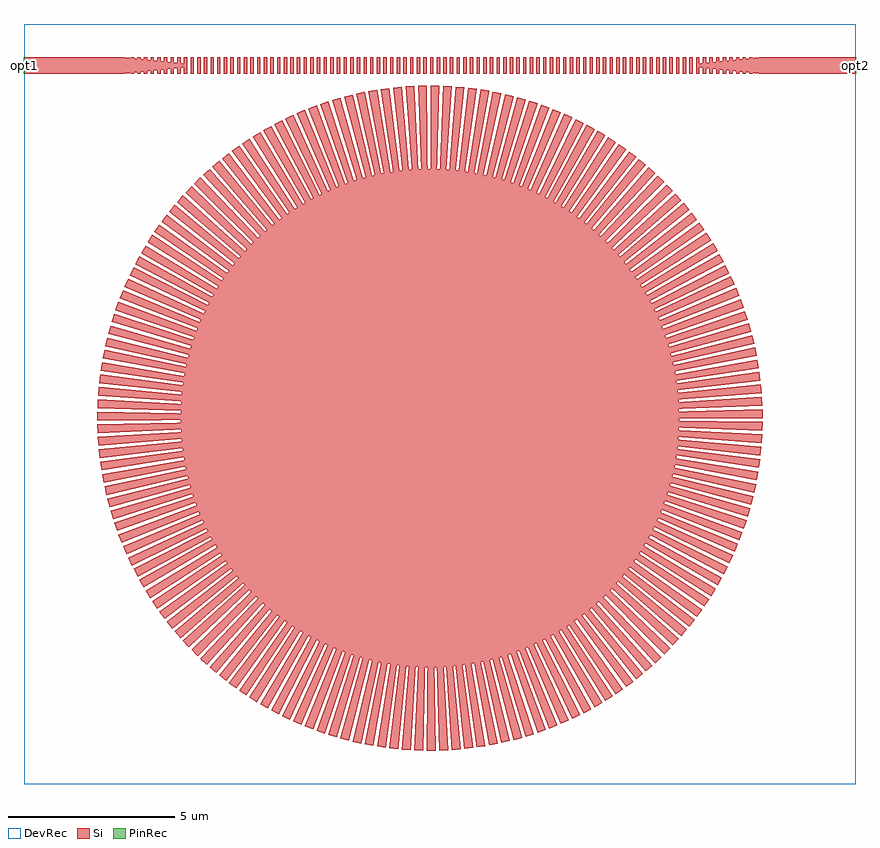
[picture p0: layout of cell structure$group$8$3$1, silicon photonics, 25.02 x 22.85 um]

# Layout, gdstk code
import gdstk
lib = gdstk.Library(unit=1e-6, precision=1e-09)
def R(c, l, rs):  # rectangles x0, y0, x1, y1
    for r in rs: c.add(gdstk.rectangle(r[:2], r[2:], *l))
def A(c, l, x, y, w, h, nx, ny, dx, dy):  # array of equal rectangles
    R(c, l, [(x+i*dx, y+j*dy, x+i*dx+w, y+j*dy+h) for i in range(nx) for j in range(ny)])
def P(c, l, *ps):  # polygons
    for p in ps: c.add(gdstk.Polygon(p, *l))
Si = (1, 0)
PinRec = (1, 10)
DevRec = (68, 0)

structure_group_8_3_1 = lib.new_cell('structure$group$8$3$1')
A(structure_group_8_3_1, Si, -8.8, 10.35, 0.1, 0.5, 94, 1, 0.2, 0)
R(structure_group_8_3_1, Si, [(-12,10.35,-9,10.85), (10.1,10.35,13,10.85)])
P(structure_group_8_3_1, Si, [(0.026,0.36),(-4.146,9.006),(-3.907,9.118),(0.036,0.365)],
  [(0.04,0.367),(-3.804,9.163),(-3.562,9.266),(0.05,0.371)],
  [(0.068,0.378),(-3.104,9.438),(-2.854,9.522),(0.078,0.381)],
  [(0.56,0.175),(0.555,0.184),(9.08,4.598),(9.198,4.363)],
  [(0.111,0.39),(-2.02,9.75),(-1.762,9.806),(0.122,0.392)],
  [(-0.05,0.312),(-6.052,7.805),(-5.844,7.967),(-0.042,0.319)],
  [(0.126,0.393),(-1.652,9.827),(-1.392,9.872),(0.136,0.395)],
  [(0.141,0.396),(-1.281,9.89),(-1.02,9.925),(0.151,0.397)],
  [(0.271,0.394),(0.261,0.395),(1.718,9.884),(1.978,9.841)],
  [(0.286,0.391),(0.276,0.393),(2.089,9.82),(2.347,9.767)],
  [(0.186,0.4),(-0.157,9.994),(0.106,10),(0.196,0.4)],
  [(0.054,0.372),(-3.457,9.307),(-3.21,9.4),(0.064,0.376)],
  [(0.3,0.387),(0.29,0.39),(2.457,9.742),(2.712,9.679)],
  [(0.538,0.214),(0.532,0.223),(8.506,5.569),(8.649,5.349)],
  [(-0.161,0.172),(-8.831,4.295),(-8.714,4.532),(-0.157,0.181)],
  [(0.471,0.295),(0.463,0.302),(6.769,7.54),(6.966,7.364)],
  [(0,0.346),(-4.811,8.654),(-4.581,8.783),(0.009,0.351)],
  [(0.398,0.348),(0.389,0.353),(4.915,8.819),(5.146,8.691)],
  [(-0.183,0.116),(-9.372,2.893),(-9.293,3.144),(-0.18,0.126)],
  [(0.315,0.383),(0.305,0.386),(2.821,9.65),(3.075,9.578)],
  [(-0.013,0.338),(-5.133,8.459),(-4.908,8.597),(-0.004,0.344)],
  [(0.082,0.382),(-2.747,9.556),(-2.494,9.63),(0.092,0.385)],
  [(0.343,0.373),(0.334,0.377),(3.54,9.426),(3.787,9.335)],
  [(0.156,0.398),(-0.908,9.938),(-0.646,9.964),(0.166,0.399)],
  [(-0.104,0.26),(-7.401,6.498),(-7.227,6.696),(-0.097,0.268)],
  [(0.357,0.368),(0.348,0.372),(3.892,9.294),(4.135,9.193)],
  [(0.53,0.227),(0.524,0.235),(8.29,5.878),(8.442,5.663)],
  [(0.241,0.398),(0.231,0.399),(0.971,9.97),(1.233,9.947)],
  [(-0.187,0.101),(-9.475,2.531),(-9.405,2.784),(-0.184,0.111)],
  [(0.385,0.355),(0.375,0.36),(4.58,8.99),(4.815,8.871)],
  [(0.595,0.06),(0.594,0.07),(10.044,1.759),(10.087,1.499)],
  [(0.572,0.147),(0.568,0.157),(9.401,3.918),(9.501,3.674)],
  [(0.59,0.09),(0.587,0.1),(9.884,2.494),(9.946,2.238)],
  [(0.597,0.045),(0.596,0.056),(10.103,1.388),(10.136,1.126)],
  [(0.586,0.104),(0.583,0.114),(9.783,2.857),(9.855,2.603)],
  [(0.256,0.396),(0.246,0.397),(1.345,9.934),(1.606,9.901)],
  [(0.582,0.119),(0.579,0.129),(9.669,3.215),(9.75,2.965)],
  [(-0.084,0.282),(-6.891,7.051),(-6.703,7.235),(-0.076,0.289)],
  [(0.593,0.075),(0.591,0.085),(9.971,2.128),(10.024,1.87)],
  [(0.599,0.03),(0.598,0.041),(10.148,1.014),(10.172,0.752)],
  [(0.371,0.362),(0.362,0.366),(4.239,9.148),(4.478,9.039)],
  [(0.512,0.251),(0.505,0.259),(7.825,6.469),(7.993,6.266)],
  [(-0.114,0.248),(-7.64,6.208),(-7.474,6.412),(-0.107,0.256)],
  [(0.492,0.273),(0.485,0.281),(7.317,7.024),(7.5,6.834)],
  [(0.577,0.133),(0.574,0.143),(9.541,3.569),(9.632,3.322)],
  [(0.553,0.188),(0.548,0.197),(8.901,4.929),(9.028,4.698)],
  [(0.6,0.015),(0.599,0.026),(10.18,0.639),(10.193,0.376)],
  [(-0.123,0.236),(-7.868,5.908),(-7.71,6.119),(-0.116,0.245)],
  [(0.546,0.201),(0.54,0.21),(8.709,5.253),(8.845,5.027)],
  [(0.436,0.323),(0.427,0.329),(5.878,8.231),(6.093,8.079)],
  [(0.013,0.353),(-4.482,8.836),(-4.247,8.957),(0.022,0.358)],
  [(0.329,0.379),(0.319,0.382),(3.183,9.545),(3.433,9.463)],
  [(-0.038,0.321),(-5.754,8.035),(-5.54,8.189),(-0.03,0.328)],
  [(-0.196,0.057),(-9.698,1.425),(-9.657,1.685),(-0.194,0.067)],
  [(-0.147,0.198),(-8.482,4.962),(-8.348,5.189),(-0.142,0.208)],
  [(0.482,0.284),(0.474,0.291),(7.048,7.287),(7.238,7.104)],
  [(-0.198,0.042),(-9.745,1.052),(-9.713,1.313),(-0.197,0.053)],
  [(0.566,0.161),(0.562,0.17),(9.247,4.261),(9.356,4.021)],
  [(0.502,0.262),(0.495,0.27),(7.577,6.752),(7.752,6.555)],
  [(0.448,0.314),(0.439,0.32),(6.184,8.012),(6.393,7.852)],
  [(0.226,0.399),(0.216,0.4),(0.595,9.992),(0.858,9.978)],
  [(0.106,-10),(0.196,-0.4),(0.207,-0.4),(0.369,-9.999)],
  [(-0.073,0.293),(-6.621,7.313),(-6.426,7.49),(-0.065,0.3)],
  [(0.423,0.332),(0.415,0.338),(5.565,8.439),(5.785,8.295)],
  [(0.201,0.4),(0.219,10),(0.482,9.996),(0.211,0.4)],
  [(-0.062,0.303),(-6.341,7.564),(-6.139,7.734),(-0.054,0.309)],
  [(-0.094,0.271),(-7.151,6.779),(-6.97,6.971),(-0.087,0.279)],
  [(0.097,0.386),(-2.385,9.66),(-2.13,9.725),(0.107,0.389)],
  [(0.521,0.239),(0.515,0.247),(8.063,6.178),(8.223,5.969)],
  [(-0.131,0.224),(-8.085,5.601),(-7.934,5.817),(-0.125,0.233)],
  [(-0.14,0.211),(-8.289,5.285),(-8.147,5.507),(-0.134,0.22)],
  [(-0.155,0.185),(-8.663,4.632),(-8.538,4.864),(-0.15,0.195)],
  [(0.171,0.399),(-0.533,9.973),(-0.27,9.989),(0.181,0.4)],
  [(-0.167,0.158),(-8.986,3.952),(-8.878,4.193),(-0.163,0.168)],
  [(-0.173,0.144),(-9.128,3.604),(-9.03,3.849),(-0.169,0.154)],
  [(-0.026,0.33),(-5.447,8.253),(-5.228,8.399),(-0.017,0.336)],
  [(-0.178,0.13),(-9.257,3.251),(-9.168,3.499),(-0.175,0.14)],
  [(-0.191,0.087),(-9.563,2.165),(-9.502,2.421),(-0.188,0.097)],
  [(-0.2,0.012),(-9.795,0.301),(-9.784,0.564),(-0.199,0.023)],
  [(-0.193,0.072),(-9.637,1.796),(-9.587,2.055),(-0.191,0.082)],
  [(0.411,0.34),(0.402,0.345),(5.243,8.635),(5.469,8.499)],
  [(0.182,-7.5),(-0.553,-7.462),(-1.28,-7.353),(-1.993,-7.172),(-2.685,-6.923),(-3.35,-6.607),(-3.98,-6.227),(-4.57,-5.788),(-5.114,-5.293),(-5.607,-4.747),(-6.044,-4.155),(-6.421,-3.523),(-6.734,-2.858),(-6.981,-2.165),(-7.158,-1.451),(-7.265,-0.723),(-7.3,0.012),(-7.263,0.747),(-7.154,1.474),(-6.974,2.187),(-6.725,2.88),(-6.41,3.544),(-6.031,4.175),(-5.592,4.765),(-5.097,5.31),(-4.551,5.803),(-3.96,6.241),(-3.329,6.618),(-2.663,6.932),(-1.97,7.179),(-1.257,7.357),(-0.529,7.465),(0.206,7.5),(0.941,7.463),(1.668,7.355),(2.382,7.176),(3.074,6.927),(3.739,6.612),(4.37,6.234),(4.961,5.795),(5.505,5.301),(5.999,4.756),(6.437,4.165),(6.815,3.534),(7.13,2.869),(7.377,2.176),(7.556,1.462),(7.664,0.735),(7.7,0),(7.662,-0.759),(7.551,-1.486),(7.37,-2.199),(7.12,-2.891),(6.804,-3.555),(6.424,-4.185),(5.984,-4.774),(5.488,-5.318),(4.942,-5.811),(4.35,-6.247),(3.718,-6.624),(3.052,-6.937),(2.359,-7.183),(1.645,-7.36),(0.917,-7.466)],
  [(-0.199,0.027),(-9.777,0.677),(-9.756,0.939),(-0.198,0.038)],
  [(0.459,0.305),(0.451,0.311),(6.481,7.781),(6.684,7.613)],
  [(10.1,10.35),(8.2,10.55),(8.2,10.65),(10.1,10.85)],
  [(-9,10.35),(-9,10.85),(-7.1,10.65),(-7.1,10.55)],
  [(-1.504,-9.854),(-1.762,-9.806),(0.122,-0.392),(0.132,-0.394)],
  [(-4.01,-9.071),(-4.247,-8.957),(0.022,-0.358),(0.032,-0.363)],
  [(-5.632,-8.123),(-5.844,-7.967),(-0.042,-0.319),(-0.033,-0.325)],
  [(-9.609,-1.944),(-9.657,-1.685),(-0.194,-0.067),(-0.192,-0.078)],
  [(-0.758,-9.954),(-1.02,-9.925),(0.151,-0.397),(0.162,-0.398)],
  [(-7.778,-6.029),(-7.934,-5.817),(-0.125,-0.233),(-0.119,-0.241)],
  [(-8.592,-4.765),(-8.714,-4.532),(-0.157,-0.181),(-0.152,-0.191)],
  [(-3.666,-9.223),(-3.907,-9.118),(0.036,-0.365),(0.045,-0.369)],
  [(-0.383,-9.983),(-0.646,-9.964),(0.166,-0.399),(0.177,-0.399)],
  [(-6.51,-7.415),(-6.703,-7.235),(-0.076,-0.289),(-0.068,-0.297)],
  [(-9.073,-3.744),(-9.168,-3.499),(-0.175,-0.14),(-0.171,-0.15)],
  [(-8.406,-5.092),(-8.538,-4.864),(-0.15,-0.195),(-0.144,-0.204)],
  [(-7.302,-6.612),(-7.474,-6.412),(-0.107,-0.256),(-0.1,-0.264)],
  [(-9.328,-3.036),(-9.405,-2.784),(-0.184,-0.111),(-0.181,-0.121)],
  [(-9.8,-0.075),(-9.798,0.188),(-0.2,0.008),(-0.2,-0.003)],
  [(-9.728,-1.201),(-9.756,-0.939),(-0.198,-0.038),(-0.197,-0.048)],
  [(-9.675,-1.574),(-9.713,-1.313),(-0.197,-0.053),(-0.195,-0.063)],
  [(-7.048,-6.889),(-7.227,-6.696),(-0.097,-0.268),(-0.09,-0.276)],
  [(-9.435,-2.676),(-9.502,-2.421),(-0.188,-0.097),(-0.185,-0.107)],
  [(-6.784,-7.157),(-6.97,-6.971),(-0.087,-0.279),(-0.079,-0.286)],
  [(-9.207,-3.393),(-9.293,-3.144),(-0.18,-0.126),(-0.176,-0.136)],
  [(-8.925,-4.09),(-9.03,-3.849),(-0.169,-0.154),(-0.165,-0.164)],
  [(-9.766,-0.827),(-9.784,-0.564),(-0.199,-0.023),(-0.199,-0.033)],
  [(-8.765,-4.431),(-8.878,-4.193),(-0.163,-0.168),(-0.159,-0.177)],
  [(-8.209,-5.412),(-8.348,-5.189),(-0.142,-0.208),(-0.136,-0.216)],
  [(-7.999,-5.725),(-8.147,-5.507),(-0.134,-0.22),(-0.128,-0.229)],
  [(-7.546,-6.325),(-7.71,-6.119),(-0.116,-0.245),(-0.11,-0.253)],
  [(-9.79,-0.451),(-9.798,-0.188),(-0.2,-0.008),(-0.2,-0.018)],
  [(-6.226,-7.662),(-6.426,-7.49),(-0.065,-0.3),(-0.057,-0.306)],
  [(-2.603,-9.599),(-2.854,-9.522),(0.078,-0.381),(0.088,-0.384)],
  [(-5.322,-8.337),(-5.54,-8.189),(-0.03,-0.328),(-0.021,-0.333)],
  [(-1.132,-9.911),(-1.392,-9.872),(0.136,-0.395),(0.147,-0.396)],
  [(-5.005,-8.539),(-5.228,-8.399),(-0.017,-0.336),(-0.008,-0.342)],
  [(-4.68,-8.728),(-4.908,-8.597),(-0.004,-0.344),(0.005,-0.349)],
  [(-1.873,-9.783),(-2.13,-9.725),(0.107,-0.389),(0.117,-0.391)],
  [(-4.348,-8.906),(-4.581,-8.783),(0.009,-0.351),(0.018,-0.356)],
  [(-3.316,-9.361),(-3.562,-9.266),(0.05,-0.371),(0.059,-0.374)],
  [(-2.962,-9.487),(-3.21,-9.4),(0.064,-0.376),(0.074,-0.379)],
  [(-9.529,-2.312),(-9.587,-2.055),(-0.191,-0.082),(-0.189,-0.092)],
  [(-5.934,-7.898),(-6.139,-7.734),(-0.054,-0.309),(-0.045,-0.316)],
  [(-2.239,-9.698),(-2.494,-9.63),(0.092,-0.385),(0.102,-0.388)],
  [(-0.007,-9.998),(-0.27,-9.989),(0.181,-0.4),(0.192,-0.4)],
  [(5.785,-8.295),(0.423,-0.332),(0.432,-0.326),(6.001,-8.145)],
  [(5.146,-8.691),(0.398,-0.348),(0.407,-0.342),(5.373,-8.558)],
  [(4.478,-9.039),(0.371,-0.362),(0.381,-0.357),(4.715,-8.923)],
  [(4.135,-9.193),(0.357,-0.368),(0.367,-0.363),(4.376,-9.086)],
  [(10.136,-1.126),(0.597,-0.045),(0.599,-0.035),(10.163,-0.864)],
  [(6.393,-7.852),(0.448,-0.314),(0.456,-0.307),(6.597,-7.686)],
  [(3.787,-9.335),(0.343,-0.373),(0.353,-0.369),(4.031,-9.237)],
  [(10.087,-1.499),(0.595,-0.06),(0.597,-0.05),(10.123,-1.238)],
  [(3.075,-9.578),(0.315,-0.383),(0.325,-0.38),(3.326,-9.499)],
  [(5.469,-8.499),(0.411,-0.34),(0.42,-0.334),(5.691,-8.358)],
  [(4.815,-8.871),(0.385,-0.355),(0.394,-0.35),(5.047,-8.747)],
  [(2.712,-9.679),(0.3,-0.387),(0.311,-0.384),(2.966,-9.61)],
  [(1.978,-9.841),(0.271,-0.394),(0.281,-0.392),(2.236,-9.791)],
  [(1.606,-9.901),(0.256,-0.396),(0.267,-0.394),(1.866,-9.86)],
  [(6.966,-7.364),(0.471,-0.295),(0.478,-0.287),(7.157,-7.183)],
  [(1.233,-9.947),(0.241,-0.398),(0.252,-0.397),(1.494,-9.916)],
  [(0.482,-9.996),(0.211,-0.4),(0.222,-0.399),(0.745,-9.985)],
  [(9.356,-4.021),(0.566,-0.161),(0.57,-0.151),(9.458,-3.779)],
  [(10.193,-0.376),(0.6,-0.015),(0.6,-0.005),(10.199,-0.113)],
  [(10.172,-0.752),(0.599,-0.03),(0.6,-0.02),(10.188,-0.489)],
  [(8.845,-5.027),(0.546,-0.201),(0.551,-0.192),(8.974,-4.798)],
  [(10.024,-1.87),(0.593,-0.075),(0.595,-0.064),(10.069,-1.611)],
  [(2.347,-9.767),(0.286,-0.391),(0.296,-0.388),(2.603,-9.707)],
  [(9.946,-2.238),(0.59,-0.09),(0.592,-0.079),(10.002,-1.981)],
  [(9.632,-3.322),(0.577,-0.133),(0.581,-0.123),(9.716,-3.072)],
  [(9.501,-3.674),(0.572,-0.147),(0.576,-0.137),(9.594,-3.428)],
  [(7.993,-6.266),(0.512,-0.251),(0.518,-0.242),(8.155,-6.059)],
  [(0.858,-9.978),(0.226,-0.399),(0.237,-0.398),(1.12,-9.958)],
  [(9.198,-4.363),(0.56,-0.175),(0.564,-0.165),(9.31,-4.125)],
  [(7.5,-6.834),(0.492,-0.273),(0.499,-0.266),(7.677,-6.64)],
  [(9.028,-4.698),(0.553,-0.188),(0.558,-0.179),(9.148,-4.464)],
  [(8.442,-5.663),(0.53,-0.227),(0.536,-0.218),(8.588,-5.444)],
  [(3.433,-9.463),(0.329,-0.379),(0.339,-0.375),(3.681,-9.375)],
  [(9.75,-2.965),(0.582,-0.119),(0.585,-0.108),(9.825,-2.712)],
  [(8.223,-5.969),(0.521,-0.239),(0.527,-0.23),(8.378,-5.755)],
  [(7.238,-7.104),(0.482,-0.284),(0.489,-0.277),(7.422,-6.916)],
  [(8.649,-5.349),(0.538,-0.214),(0.543,-0.205),(8.787,-5.124)],
  [(7.752,-6.555),(0.502,-0.262),(0.509,-0.254),(7.922,-6.354)],
  [(6.684,-7.613),(0.459,-0.305),(0.467,-0.298),(6.882,-7.44)],
  [(9.855,-2.603),(0.586,-0.104),(0.589,-0.094),(9.92,-2.348)],
  [(6.093,-8.079),(0.436,-0.323),(0.444,-0.317),(6.304,-7.921)],
  [(0.6,0),(0.6,0.011),(10.197,0.263),(10.2,0)])
R(structure_group_8_3_1, DevRec, [(-12,-11,13,11.85)])
structure_group_8_3_1.add(gdstk.FlexPath([(-11.99,10.6),(-12.01,10.6)], 0.5, ends="flush", simple_path=True, layer=1, datatype=10))  # PinRec
structure_group_8_3_1.add(gdstk.FlexPath([(12.99,10.6),(13.01,10.6)], 0.5, ends="flush", simple_path=True, layer=1, datatype=10))  # PinRec
structure_group_8_3_1.add(gdstk.Label('opt1', (-12,10.6), layer=1, texttype=10))
structure_group_8_3_1.add(gdstk.Label('opt2', (13,10.6), layer=1, texttype=10))

lib.write_gds('structure_group_8_3_1.gds')
